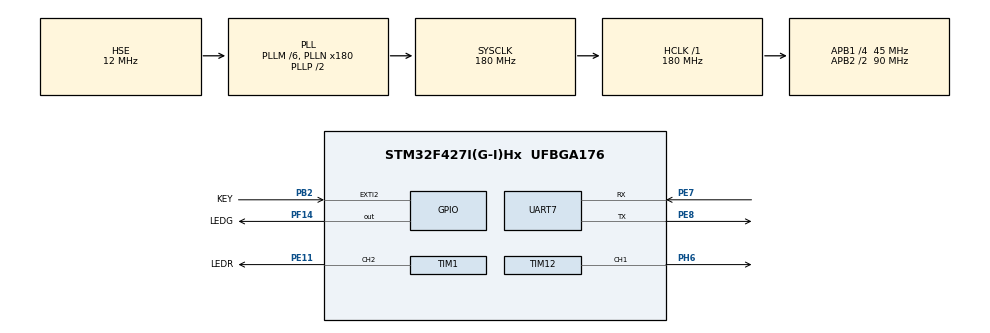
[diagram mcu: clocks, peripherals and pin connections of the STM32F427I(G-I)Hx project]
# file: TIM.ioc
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IWDG.Prescaler=IWDG_PRESCALER_16
IWDG.Reload=4000 - 1
Mcu.Family=STM32F4
Mcu.Name=STM32F427I(G-I)Hx
Mcu.Package=UFBGA176
NVIC.EXTI2_IRQn=true\:2\:0\:true\:false\:true\:true\:true\:true
NVIC.PriorityGroup=NVIC_PRIORITYGROUP_4
NVIC.TIM1_UP_TIM10_IRQn=true\:0\:0\:false\:false\:true\:true\:true\:true
NVIC.UART7_IRQn=true\:0\:0\:false\:false\:true\:true\:true\:true
PA13.Mode=Serial_Wire
PA13.Signal=SYS_JTMS-SWDIO
PA14.Mode=Serial_Wire
PA14.Signal=SYS_JTCK-SWCLK
PB2/BOOT1.GPIO_Label=KEY
PB2/BOOT1.Signal=GPXTI2
PE11.GPIO_Label=LEDR
PE11.Signal=S_TIM1_CH2
PE7.Mode=Asynchronous
PE7.Signal=UART7_RX
PE8.Mode=Asynchronous
PE8.Signal=UART7_TX
PF14.GPIO_Label=LEDG
PF14.Signal=GPIO_Output
PH0/OSC_IN.Mode=HSE-External-Oscillator
PH0/OSC_IN.Signal=RCC_OSC_IN
PH1/OSC_OUT.Mode=HSE-External-Oscillator
PH1/OSC_OUT.Signal=RCC_OSC_OUT
PH6.Signal=S_TIM12_CH1
ProjectManager.HeapSize=0x200
ProjectManager.StackSize=0x400
ProjectManager.TargetToolchain=MDK-ARM V5.32
RCC.48MHZClocksFreq_Value=90000000
RCC.AHBFreq_Value=180000000
RCC.APB1CLKDivider=RCC_HCLK_DIV4
RCC.APB1Freq_Value=45000000
RCC.APB1TimCLKDivider=2
RCC.APB1TimFreq_Value=90000000
RCC.APB2CLKDivider=RCC_HCLK_DIV2
RCC.APB2Freq_Value=90000000
RCC.APB2TimFreq_Value=180000000
RCC.CortexFreq_Value=180000000
RCC.HCLKFreq_Value=180000000
RCC.HSE_VALUE=12000000
RCC.HSI_VALUE=16000000
RCC.LSE_VALUE=32768
RCC.PLLM=6
RCC.PLLN=180
RCC.PLLSourceVirtual=RCC_PLLSOURCE_HSE
RCC.SYSCLKFreq_VALUE=180000000
RCC.SYSCLKSource=RCC_SYSCLKSOURCE_PLLCLK
RCC.VCOOutputFreq_Value=360000000
SH.S_TIM12_CH1.0=TIM12_CH1,PWM Generation1 CH1
SH.S_TIM1_CH2.0=TIM1_CH2,PWM Generation2 CH2
TIM1.Channel-PWM\ Generation2\ CH2=TIM_CHANNEL_2
TIM1.OCMode_PWM-PWM\ Generation2\ CH2=TIM_OCMODE_PWM2
TIM1.Period=1000 - 1
TIM1.Prescaler=180 - 1
TIM1.Pulse-PWM\ Generation2\ CH2=500 - 1
TIM12.Channel-PWM\ Generation1\ CH1=TIM_CHANNEL_1
UART7.Parity=PARITY_EVEN
UART7.VirtualMode=Asynchronous
UART7.WordLength=WORDLENGTH_9B
VP_IWDG_VS_IWDG.Mode=IWDG_Activate
VP_TIM12_VS_ClockSourceINT.Mode=Internal
VP_TIM1_VS_ClockSourceINT.Mode=Internal
board=custom

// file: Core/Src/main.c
/* USER CODE BEGIN Header */
/**
  ******************************************************************************
  * @file           : main.c
  * @brief          : Main program body
  ******************************************************************************
  * @attention
  *
  * Copyright (c) 2025 STMicroelectronics.
  * All rights reserved.
  *
  * This software is licensed under terms that can be found in the LICENSE file
  * in the root directory of this software component.
  * If no LICENSE file comes with this software, it is provided AS-IS.
  *
  ******************************************************************************
  */
/* USER CODE END Header */
#include "main.h"
#include "iwdg.h"
#include "tim.h"
#include "usart.h"
#include "gpio.h"

/* USER CODE BEGIN PTD */
typedef struct {
  uint16_t tune;
  float beat;
} MusicNote;
/* USER CODE END PTD */

/* USER CODE BEGIN PD */

// 单位Hz
enum PitchFrequency : uint32_t {
    A0 = 27, // A0
    A0S = 29, // A#0
    B0 = 31, // B0
    C1 = 33, // C1
    C1S = 35, // C#1
    D1F = 35, // Db1
    D1 = 37, // D1
    D1S = 39, // D#1
    E1F = 39, // Eb1
    E1 = 41, // E1
    F1 = 44, // F1
    F1S = 46, // F#1
    G1F = 46, // Gb1
    G1 = 49, // G1
    G1S = 52, // G#1
    A1F = 52, // Ab1
    A1 = 55, // A1
    A1S = 58, // A#1
    B1F = 58, // Bb1
    B1 = 62, // B1
    C2 = 65, // C2
    C2S = 69, // C#2
    D2F = 69, // Db2
    D2 = 73, // D2
    D2S = 78, // D#2
    E2F = 78, // Eb2
    E2 = 82, // E2
    F2 = 87, // F2
    F2S = 92, // F#2
    G2F = 92, // Gb2
    G2 = 98, // G2
    G2S = 103, // G#2
    A2F = 103, // Ab2
    A2 = 110, // A2
    A2S = 117, // A#2
    B2F = 117, // Bb2
    B2 = 123, // B2
    C3 = 130, // C3
    C3S = 138, // C#3
    D3F = 138, // Db3
    D3 = 146, // D3
    D3S = 155, // D#3
    E3F = 155, // Eb3
    E3 = 164, // E3
    F3 = 174, // F3
    F3S = 185, // F#3
    G3F = 185, // Gb3
    G3 = 196, // G3
    G3S = 208, // G#3
    A3F = 208, // Ab3
    A3 = 220, // A3
    A3S = 233, // A#3
    B3F = 233, // Bb3
    B3 = 247, // B3
    C4 = 261, // Middle C (C4)
    C4S = 277, // C#4
    D4F = 277, // Db4
    D4 = 293, // D4
    D4S = 311, // D#4
    E4F = 311, // Eb4
    E4 = 329, // E4
    F4 = 349, // F4
    F4S = 370, // F#4
    G4F = 370, // Gb4
    G4 = 392, // G4
    G4S = 415, // G#4
    A4F = 415, // Ab4
    A4 = 440, // A4 (Tuning pitch)
    A4S = 466, // A#4
    B4F = 466, // Bb4
    B4 = 493, // B4
    C5 = 523, // C5
    C5S = 554, // C#5
    D5F = 554, // Db5
    D5 = 587, // D5
    D5S = 622, // D#5
    E5F = 622, // Eb5
    E5 = 659, // E5
    F5 = 698, // F5
    F5S = 740, // F#5
    G5F = 740, // Gb5
    G5 = 784, // G5
    G5S = 831, // G#5
    A5F = 831, // Ab5
    A5 = 880, // A5
    A5S = 932, // A#5
    B5F = 932, // Bb5
    B5 = 987, // B5
    C6 = 1046, // C6
    C6S = 1109, // C#6
    D6F = 1109, // Db6
    D6 = 1175, // D6
    D6S = 1245, // D#6
    E6F = 1245, // Eb6
    E6 = 1319, // E6
    F6 = 1397, // F6
    F6S = 1480, // F#6
    G6F = 1480, // Gb6
    G6 = 1568, // G6
    G6S = 1661, // G#6
    A6F = 1661, // Ab6
    A6 = 1760, // A6
    A6S = 1865, // A#6
    B6F = 1865, // Bb6
    B6 = 1976, // B6
    C7 = 2093, // C7
    C7S = 2217, // C#7
    D7F = 2217, // Db7
    D7 = 2349, // D7
    D7S = 2489, // D#7
    E7F = 2489, // Eb7
    E7 = 2637, // E7
    F7 = 2794, // F7
    F7S = 2960, // F#7
    G7F = 2960, // Gb7
    G7 = 3136, // G7
    G7S = 3322, // G#7
    A7F = 3322, // Ab7
    A7 = 3520, // A7
    A7S = 3729, // A#7
    B7F = 3729, // Bb7
    B7 = 3951, // B7
    C8 = 4186, // C8
    C8S = 4435, // C#8
    D8F = 4435, // Db8
    D8 = 4699, // D8
    D8S = 4978, // D#8
    E8F = 4978, // Eb8
    E8 = 5274, // E8
    F8 = 5588, // F8
    F8S = 5919, // F#8
    G8F = 5919, // Gb8
    G8 = 6272, // G8
    G8S = 6645, // G#8
    A8F = 6645, // Ab8
    A8 = 7040, // A8
    A8S = 7459, // A#8
    B8F = 7459, // Bb8
    B8 = 7902, // B8
    C9 = 8372, // C9
    C9S = 8870, // C#9
    D9F = 8870, // Db9
    D9 = 9397, // D9
    D9S = 9956, // D#9
    E9F = 9956, // Eb9
    E9 = 10548, // E9
    F9 = 11175, // F9
    F9S = 11840, // F#9
    G9F = 11840, // Gb9
    G9 = 12544, // G9
    G9S = 13289, // G#9
    A9F = 13289, // Ab9
    A9 = 14080, // A9
    A9S = 14917, // A#9
    B9F = 14917, // Bb9
    B9 = 15804, // B9
    C10 = 16744 // C10
};
/* USER CODE END PD */

/* USER CODE BEGIN PV */
uint32_t ticks;
uint32_t arr_value;
extern volatile uint32_t brightness;

uint8_t tx_msg[20] = "Hello, RoboMaster!\n";
uint8_t rx_msg[20];

// 春日影  bpm(beat per minute) 97
MusicNote music_haruhikage_notes[] = {
  { E6, 1 }, { D6, 0.5 }, { C6, 1 }, { D6, 0.5 }, { E6, 0.75 }, { F6, 0.25 }, { E6, 0.5 }, { D6, 1.5 },
};
/* USER CODE END PV */

void SystemClock_Config(void);
/* USER CODE BEGIN PFP */
void buzzer_play(MusicNote music_notes[], uint8_t len);
/* USER CODE END PFP */

int main(void)
{

  /* MCU Configuration--------------------------------------------------------*/

  /* Reset of all peripherals, Initializes the Flash interface and the Systick. */
  HAL_Init();

  /* Configure the system clock */
  SystemClock_Config();

  /* Initialize all configured peripherals */
  MX_GPIO_Init();
  MX_TIM1_Init();
  MX_IWDG_Init();
  MX_UART7_Init();
  MX_TIM12_Init();
  /* USER CODE BEGIN 2 */
  HAL_TIM_PWM_Start(&htim1, TIM_CHANNEL_2);
  HAL_TIM_PWM_Start(&htim12, TIM_CHANNEL_1);
  HAL_TIM_Base_Start_IT(&htim1);
  __HAL_DBGMCU_FREEZE_IWDG();

  buzzer_play(music_haruhikage_notes, 8);

  HAL_UART_Receive_IT(&huart7, rx_msg, 20);
  // HAL_UART_Transmit(&huart7, tx_msg, 19, 1000);
  /* USER CODE END 2 */

  /* Infinite loop */
  while (1)
  {

    /* USER CODE BEGIN 3 */
    // int counter = __HAL_TIM_GET_COUNTER(&htim1);
    // int max_cnt = __HAL_TIM_GET_AUTORELOAD(&htim1);
    // if (counter < max_cnt / 4) {
    //   HAL_GPIO_WritePin(LEDG_GPIO_Port, LEDG_Pin, GPIO_PIN_RESET);
    //   HAL_GPIO_WritePin(LEDR_GPIO_Port, LEDR_Pin, GPIO_PIN_RESET);
    // }
    // else if (counter < max_cnt / 2) {
    //   HAL_GPIO_WritePin(LEDG_GPIO_Port, LEDG_Pin, GPIO_PIN_SET);
    //   HAL_GPIO_WritePin(LEDR_GPIO_Port, LEDR_Pin, GPIO_PIN_RESET);
    // }
    // else if (counter < max_cnt * 3 / 4) {
    //   HAL_GPIO_WritePin(LEDG_GPIO_Port, LEDG_Pin, GPIO_PIN_SET);
    //   HAL_GPIO_WritePin(LEDR_GPIO_Port, LEDR_Pin, GPIO_PIN_SET);
    // }
    // else {
    //   HAL_GPIO_WritePin(LEDG_GPIO_Port, LEDG_Pin, GPIO_PIN_RESET);
    //   HAL_GPIO_WritePin(LEDR_GPIO_Port, LEDR_Pin, GPIO_PIN_SET);
    // }

    // ticks = HAL_GetTick();
    // arr_value = __HAL_TIM_GetAutoreload(&htim1) + 1;
    // brightness = arr_value * sinf(4 * ticks / 1000.f) - 1;

    // HAL_UART_Transmit(&huart7, tx_msg, 19, 1000);
    // HAL_Delay(1000);

    __HAL_TIM_SetCompare(&htim1, TIM_CHANNEL_2, brightness);

    if (HAL_GPIO_ReadPin(KEY_GPIO_Port, KEY_Pin) == GPIO_PIN_SET) {
      HAL_IWDG_Refresh(&hiwdg);
    }
  }
  /* USER CODE END 3 */
}

void SystemClock_Config(void)
{
  RCC_OscInitTypeDef RCC_OscInitStruct = {0};
  RCC_ClkInitTypeDef RCC_ClkInitStruct = {0};

  /** Configure the main internal regulator output voltage
  */
  __HAL_RCC_PWR_CLK_ENABLE();
  __HAL_PWR_VOLTAGESCALING_CONFIG(PWR_REGULATOR_VOLTAGE_SCALE1);

  /** Initializes the RCC Oscillators according to the specified parameters
  * in the RCC_OscInitTypeDef structure.
  */
  RCC_OscInitStruct.OscillatorType = RCC_OSCILLATORTYPE_LSI|RCC_OSCILLATORTYPE_HSE;
  RCC_OscInitStruct.HSEState = RCC_HSE_ON;
  RCC_OscInitStruct.LSIState = RCC_LSI_ON;
  RCC_OscInitStruct.PLL.PLLState = RCC_PLL_ON;
  RCC_OscInitStruct.PLL.PLLSource = RCC_PLLSOURCE_HSE;
  RCC_OscInitStruct.PLL.PLLM = 6;
  RCC_OscInitStruct.PLL.PLLN = 180;
  RCC_OscInitStruct.PLL.PLLP = RCC_PLLP_DIV2;
  RCC_OscInitStruct.PLL.PLLQ = 4;
  if (HAL_RCC_OscConfig(&RCC_OscInitStruct) != HAL_OK)
  {
    Error_Handler();
  }

  /** Activate the Over-Drive mode
  */
  if (HAL_PWREx_EnableOverDrive() != HAL_OK)
  {
    Error_Handler();
  }

  /** Initializes the CPU, AHB and APB buses clocks
  */
  RCC_ClkInitStruct.ClockType = RCC_CLOCKTYPE_HCLK|RCC_CLOCKTYPE_SYSCLK
                              |RCC_CLOCKTYPE_PCLK1|RCC_CLOCKTYPE_PCLK2;
  RCC_ClkInitStruct.SYSCLKSource = RCC_SYSCLKSOURCE_PLLCLK;
  RCC_ClkInitStruct.AHBCLKDivider = RCC_SYSCLK_DIV1;
  RCC_ClkInitStruct.APB1CLKDivider = RCC_HCLK_DIV4;
  RCC_ClkInitStruct.APB2CLKDivider = RCC_HCLK_DIV2;

  if (HAL_RCC_ClockConfig(&RCC_ClkInitStruct, FLASH_LATENCY_5) != HAL_OK)
  {
    Error_Handler();
  }
}

/* USER CODE BEGIN 4 */
void buzzer_play(MusicNote music_notes[], uint8_t len) {
  for (int i=0; i<len; ++i) {
    uint16_t tune = music_notes[i].tune;
  }
}
/* USER CODE END 4 */

void Error_Handler(void)
{
  __disable_irq();
  while (1)
  {
  }
}
